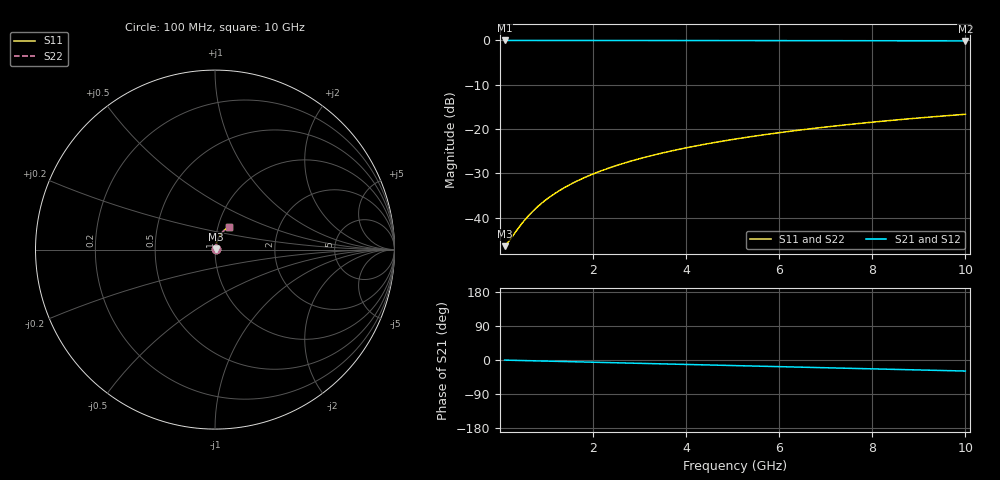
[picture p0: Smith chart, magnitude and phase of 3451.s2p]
# Hz S RI R 50.00
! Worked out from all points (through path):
!   100 points, 100 MHz to 10 GHz, reference 50 ohm
!   highest |S21| = -0.04 dB at 100 MHz (marker M1); lowest = -0.1 dB at 10 GHz (marker M2)
!   group delay of S21, straight-line fit = 8.1 ps
!   lowest |S11| = -46.4 dB at 100 MHz (marker M3), VSWR 1.01, Z = 50.5 + j0.153 ohm
!   |S11| at or under -10 dB: start of sweep to end of sweep
!   |S22| runs from -46.4 to -16.7 dB; largest |S21 - S12| = 0
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1e8  0.00452 0.00152  0.9955 -0.00509  0.9955 -0.00509  0.00452 0.00152
2e8  0.00457 0.00303  0.9954 -0.0102  0.9954 -0.0102  0.00457 0.00303
4e8  0.0047 0.00606  0.9952 -0.0204  0.9952 -0.0204  0.0047 0.00606
5e8  0.00478 0.00757  0.995 -0.0254  0.995 -0.0254  0.00478 0.00757
6e8  0.00488 0.00908  0.9949 -0.0305  0.9949 -0.0305  0.00488 0.00908
7e8  0.00499 0.0106  0.9947 -0.0356  0.9947 -0.0356  0.00499 0.0106
9e8  0.00526 0.0136  0.9942 -0.0458  0.9942 -0.0458  0.00526 0.0136
1.1e9  0.00558 0.0166  0.9936 -0.0559  0.9936 -0.0559  0.00558 0.0166
1.3e9  0.00597 0.0196  0.9929 -0.0661  0.9929 -0.0661  0.00597 0.0196
1.5e9  0.00642 0.0226  0.9921 -0.0762  0.9921 -0.0762  0.00642 0.0226
1.8e9  0.0072 0.0271  0.9907 -0.0914  0.9907 -0.0914  0.0072 0.0271
2.1e9  0.00812 0.0315  0.989 -0.1066  0.989 -0.1066  0.00812 0.0315
2.5e9  0.00955 0.0374  0.9864 -0.1267  0.9864 -0.1267  0.00955 0.0374
2.9e9  0.0112 0.0432  0.9833 -0.1468  0.9833 -0.1468  0.0112 0.0432
3.4e9  0.0136 0.0504  0.9788 -0.1718  0.9788 -0.1718  0.0136 0.0504
4.2e9  0.0182 0.0615  0.9703 -0.2115  0.9703 -0.2115  0.0182 0.0615
5.1e9  0.0245 0.0736  0.9586 -0.2555  0.9586 -0.2555  0.0245 0.0736
5.9e9  0.031 0.0837  0.9464 -0.294  0.9464 -0.294  0.031 0.0837
6.7e9  0.0382 0.0933  0.9326 -0.3319  0.9326 -0.3319  0.0382 0.0933
7.5e9  0.0462 0.1023  0.9172 -0.369  0.9172 -0.369  0.0462 0.1023
8.4e9  0.056 0.1115  0.8981 -0.4098  0.8981 -0.4098  0.056 0.1115
1e10  0.0753 0.1255  0.8594 -0.4795  0.8594 -0.4795  0.0753 0.1255
